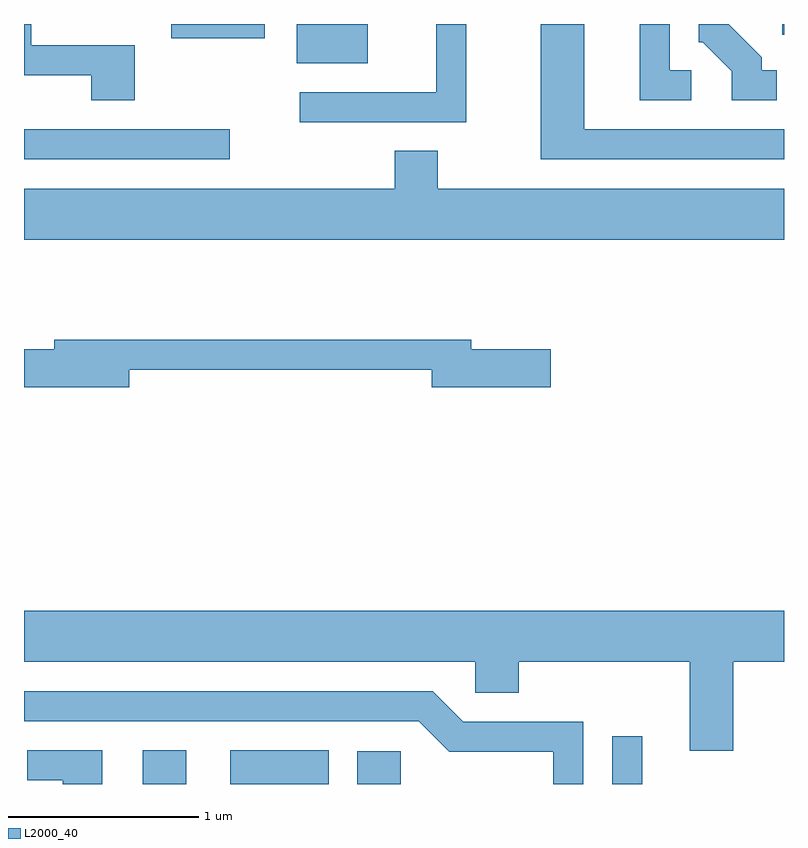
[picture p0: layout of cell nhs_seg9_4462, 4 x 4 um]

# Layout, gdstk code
import gdstk
lib = gdstk.Library(unit=1e-6, precision=1e-09)
def R(c, l, rs):  # rectangles x0, y0, x1, y1
    for r in rs: c.add(gdstk.rectangle(r[:2], r[2:], *l))
def P(c, l, *ps):  # polygons
    for p in ps: c.add(gdstk.Polygon(p, *l))
L2000_40 = (2000, 40)

nhs_seg9_4462 = lib.new_cell('nhs_seg9_4462')
R(nhs_seg9_4462, L2000_40, [(316.236,2064.432,316.464,2064.609), (316.696,2064.432,317.214,2064.609), (317.366,2064.432,317.594,2064.604), (318.706,2064.432,318.864,2064.683), (315.611,2067.721,316.693,2067.879), (317.046,2068.226,317.419,2068.432), (316.386,2068.356,316.879,2068.432), (319.601,2068.376,319.611,2068.432)])
P(nhs_seg9_4462, L2000_40, [(319.611,2067.879),(318.559,2067.879),(318.559,2068.432),(318.331,2068.432),(318.331,2067.721),(319.611,2067.721)],
  [(319.573,2068.189),(319.494,2068.189),(319.494,2068.257),(319.319,2068.432),(319.161,2068.432),(319.161,2068.336),(319.184,2068.336),(319.336,2068.184),(319.336,2068.031),(319.573,2068.031)],
  [(316.194,2068.319),(315.649,2068.319),(315.649,2068.432),(315.611,2068.432),(315.611,2068.161),(315.966,2068.161),(315.966,2068.031),(316.194,2068.031)],
  [(317.939,2068.432),(317.781,2068.432),(317.781,2068.074),(317.063,2068.074),(317.063,2067.916),(317.939,2067.916)],
  [(319.123,2068.189),(319.009,2068.189),(319.009,2068.432),(318.851,2068.432),(318.851,2068.031),(319.123,2068.031)],
  [(319.611,2067.564),(317.789,2067.564),(317.789,2067.764),(317.561,2067.764),(317.561,2067.564),(315.611,2067.564),(315.611,2067.296),(319.611,2067.296)],
  [(316.164,2066.611),(317.756,2066.611),(317.756,2066.521),(318.384,2066.521),(318.384,2066.719),(317.964,2066.719),(317.964,2066.769),(315.771,2066.769),(315.771,2066.719),(315.611,2066.719),(315.611,2066.521),(316.164,2066.521)],
  [(319.344,2065.076),(319.611,2065.076),(319.611,2065.344),(315.611,2065.344),(315.611,2065.076),(317.986,2065.076),(317.986,2064.911),(318.214,2064.911),(318.214,2065.076),(319.116,2065.076),(319.116,2064.606),(319.344,2064.606)],
  [(318.554,2064.759),(317.922,2064.759),(317.762,2064.919),(315.611,2064.919),(315.611,2064.761),(317.689,2064.761),(317.849,2064.601),(318.396,2064.601),(318.396,2064.432),(318.554,2064.432)],
  [(316.024,2064.609),(315.628,2064.609),(315.628,2064.451),(315.816,2064.451),(315.816,2064.432),(316.024,2064.432)])

lib.write_gds('nhs_seg9_4462.gds')
